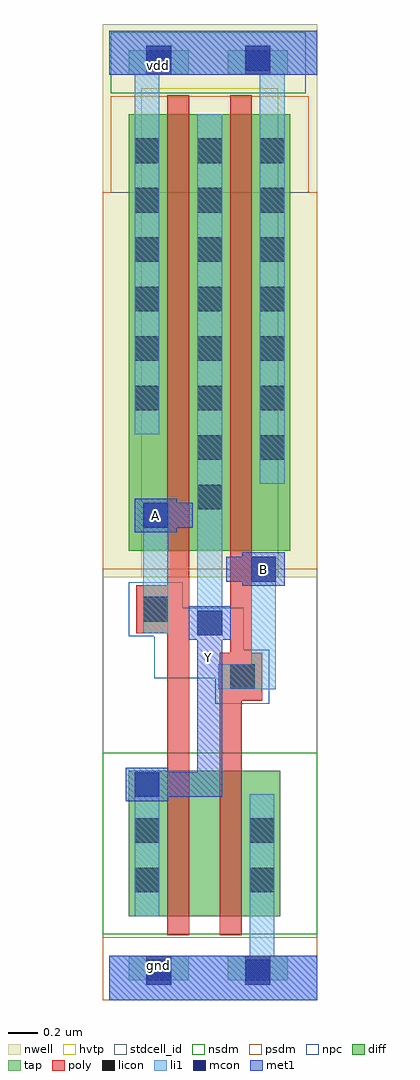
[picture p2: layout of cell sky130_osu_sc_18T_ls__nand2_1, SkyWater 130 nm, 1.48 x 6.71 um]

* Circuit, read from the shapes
.subckt sky130_osu_sc_18T_ls__nand2_1 A B Y gnd vdd
XM1 n1 A Y gnd sky130_fd_pr__nfet_01v8 w=1 l=0.15
XM2 gnd B n1 gnd sky130_fd_pr__nfet_01v8 w=1 l=0.15
XM3 Y A vdd vdd sky130_fd_pr__pfet_01v8_hvt w=3 l=0.15
XM4 vdd B Y vdd sky130_fd_pr__pfet_01v8_hvt w=3 l=0.15
.ends

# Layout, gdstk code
import gdstk
lib = gdstk.Library(unit=1e-6, precision=1e-09)
def R(c, l, rs):  # rectangles x0, y0, x1, y1
    for r in rs: c.add(gdstk.rectangle(r[:2], r[2:], *l))
def A(c, l, x, y, w, h, nx, ny, dx, dy):  # array of equal rectangles
    R(c, l, [(x+i*dx, y+j*dy, x+i*dx+w, y+j*dy+h) for i in range(nx) for j in range(ny)])
nwell = (64, 20)
diff = (65, 20)
tap = (65, 44)
poly = (66, 20)
licon = (66, 44)
li1 = (67, 20)
mcon = (67, 44)
met1 = (68, 20)
hvtp = (78, 44)
stdcell_id = (81, 4)
nsdm = (93, 44)
psdm = (94, 20)
npc = (95, 20)

sky130_osu_sc_18t_ls__na = lib.new_cell('sky130_osu_sc_18T_ls__nand2_1')
R(sky130_osu_sc_18t_ls__na, nwell, [(-0.045,2.905,1.43,6.705)])
R(sky130_osu_sc_18t_ls__na, diff, [(0.135,0.575,1.175,1.575), (0.135,3.085,1.245,6.085)])
R(sky130_osu_sc_18t_ls__na, tap, [(0.135,0.135,0.545,0.305), (0.815,0.135,1.225,0.305), (0.135,6.355,0.545,6.525), (0.815,6.355,1.225,6.525)])
R(sky130_osu_sc_18t_ls__na, poly, [(0.4,0.445,0.55,2.52), (0.76,0.445,0.91,2.055), (0.76,2.055,1.05,2.385), (0.83,2.385,0.98,6.215), (0.185,2.52,0.55,2.85), (0.4,2.85,0.55,6.215)])
A(sky130_osu_sc_18t_ls__na, licon, 0.175, 4.05, 0.17, 0.17, 3, 6, 0.43, 0.34)
R(sky130_osu_sc_18t_ls__na, licon, [(0.255,0.135,0.425,0.305), (0.935,0.135,1.105,0.305), (0.175,0.74,0.345,0.91), (0.965,0.74,1.135,0.91), (0.175,1.08,0.345,1.25), (0.965,1.08,1.135,1.25), (0.83,2.135,1,2.305), (0.235,2.6,0.405,2.77), (0.605,3.37,0.775,3.54), (0.605,3.71,0.775,3.88), (1.035,3.71,1.205,3.88), (0.255,6.355,0.425,6.525), (0.935,6.355,1.105,6.525)])
R(sky130_osu_sc_18t_ls__na, li1, [(0,0,1.43,0.305), (0.965,0.305,1.135,1.415), (0.175,0.575,0.345,1.565), (0.75,2.135,1.145,2.305), (0.975,2.305,1.145,3.045), (0.605,2.505,0.775,6.085), (0.235,2.52,0.405,3.415), (1.035,3.545,1.205,6.355), (0.175,3.885,0.345,6.355), (0,6.355,1.43,6.66)])
R(sky130_osu_sc_18t_ls__na, mcon, [(0.255,0.105,0.425,0.275), (0.935,0.105,1.105,0.275), (0.175,1.395,0.345,1.565), (0.605,2.505,0.775,2.675), (0.975,2.875,1.145,3.045), (0.235,3.245,0.405,3.415), (0.255,6.385,0.425,6.555), (0.935,6.385,1.105,6.555)])
R(sky130_osu_sc_18t_ls__na, met1, [(0,0,1.43,0.305), (0.115,1.365,0.405,1.395), (0.115,1.395,0.775,1.565), (0.115,1.565,0.405,1.595), (0.605,1.565,0.775,2.475), (0.545,2.475,0.835,2.705), (0.915,2.845,1.205,2.875), (0.805,2.875,1.205,3.045), (0.915,3.045,1.205,3.075), (0.175,3.215,0.465,3.245), (0.175,3.245,0.575,3.415), (0.175,3.415,0.465,3.445), (0,6.355,1.43,6.66)])
R(sky130_osu_sc_18t_ls__na, hvtp, [(0.22,2.905,1.16,6.265)])
R(sky130_osu_sc_18t_ls__na, stdcell_id, [(-0.045,0,1.43,5.55)])
R(sky130_osu_sc_18t_ls__na, nsdm, [(-0.045,0.45,1.43,1.7), (0.01,6.23,1.35,6.65)])
R(sky130_osu_sc_18t_ls__na, psdm, [(-0.045,0,1.43,0.43), (-0.045,2.96,1.43,5.55), (0.01,5.55,1.37,6.21)])
R(sky130_osu_sc_18t_ls__na, npc, [(0.73,2.035,1.1,2.21), (0.31,2.21,1.1,2.405), (0.31,2.405,0.925,2.5), (0.135,2.5,0.925,2.695), (0.135,2.695,0.505,2.87)])
sky130_osu_sc_18t_ls__na.add(gdstk.Label('gnd', (0.34,0.24), layer=68, texttype=16))
sky130_osu_sc_18t_ls__na.add(gdstk.Label('vdd', (0.34,6.42), layer=68, texttype=16))
sky130_osu_sc_18t_ls__na.add(gdstk.Label('Y', (0.68,2.35), layer=68, texttype=5))
sky130_osu_sc_18t_ls__na.add(gdstk.Label('A', (0.32,3.33), layer=68, texttype=5))
sky130_osu_sc_18t_ls__na.add(gdstk.Label('B', (1.06,2.96), layer=68, texttype=5))

lib.write_gds('sky130_osu_sc_18T_ls__nand2_1.gds')
